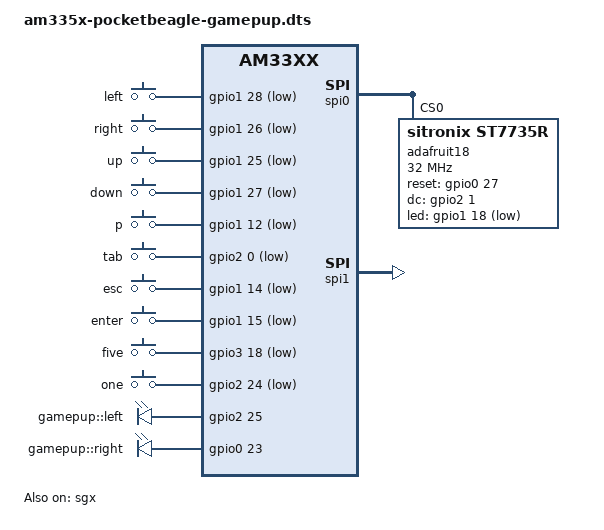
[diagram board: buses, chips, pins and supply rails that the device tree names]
/*
 * Copyright (C) 2012 Texas Instruments Incorporated - http://www.ti.com/
 *
 * This program is free software; you can redistribute it and/or modify
 * it under the terms of the GNU General Public License version 2 as
 * published by the Free Software Foundation.
 */
/dts-v1/;

#include "am33xx.dtsi"
#include "am335x-pocketbeagle-common.dtsi"

&sgx {
	status = "okay";
};

&spi0 {
	#address-cells = <1>;
	#size-cells = <0>;
	status = "okay";

	adafruit18: adafruit18@0{
		compatible = "sitronix,st7735r";
		pinctrl-names = "default";
		pinctrl-0 = <
			&P1_06_spi_cs_pin 	/* CS */
			&P1_08_spi_sclk_pin 	/* SCLK */
			&P1_10_spi_pin 		/* D0 (MOSI?) */
			&P1_12_spi_pin 		/* D1 (MISO?) */
			&P2_19_gpio_pin		/* RST */
			&P2_17_gpio_pin		/* DC */
			&P2_01_gpio_pin		/* LED */
		>;
		reg = <0>;
		buswidth = <8>;
		reset-gpios = <&gpio0 27 0>;
		dc-gpios = <&gpio2 1 0>;
		led-gpios = <&gpio1 18 1>;
		debug = <1>;
		spi-max-frequency = <32000000>;
		rotate = <0>;
		rgb;
		fps = <30>;
	};
};

&spi1 {
	#address-cells = <1>;
	#size-cells = <0>;
	status = "okay";

	channel@0 {
		#address-cells = <1>;
		#size-cells = <0>;
		compatible = "spidev";
		reg = <0>;
		spi-max-frequency = <24000000>;
	};

	channel@1 {
		#address-cells = <1>;
		#size-cells = <0>;
		compatible = "spidev";
		reg = <1>;
		spi-max-frequency = <24000000>;
	};
};

&ocp {
	/************************/
	/* P1 Header */
	/************************/

	/* P1_01                VIN-AC */

	/* P1_02 (ZCZ ball R5) gpio_input */
	P1_02_pinmux {
		compatible = "bone-pinmux-helper";
		status = "okay";
		pinctrl-names = "default", "gpio", "gpio_pu", "gpio_pd", "gpio_input", "pruout", "pruin";
		pinctrl-0 = <&P1_02_default_pin>;
		pinctrl-1 = <&P1_02_gpio_pin>;
		pinctrl-2 = <&P1_02_gpio_pu_pin>;
		pinctrl-3 = <&P1_02_gpio_pd_pin>;
		pinctrl-4 = <&P1_02_gpio_input_pin>;
		pinctrl-5 = <&P1_02_pruout_pin>;
		pinctrl-6 = <&P1_02_pruin_pin>;
	};

	/* P1_03 (ZCZ ball F15)  usb1_vbus_out         */

	/* P1_04 (ZCZ ball R6) */

	/* P1_05 (ZCZ ball T18)  usb1_vbus_in         */

	/* P1_06 (ZCZ ball A16) spi_cs */

	/* P1_07                VIN-USB */

	/* P1_08 (ZCZ ball A17) spi_sclk */

	/* P1_09 (ZCZ ball R18)  USB1-DN         */

	/* P1_10 (ZCZ ball B17) spi */

	/* P1_11 (ZCZ ball R17)  USB1-DP         */

	/* P1_12 (ZCZ ball B16) spi */

	/* P1_13 (ZCZ ball P17)  USB1-ID         */

	/* P1_14                VOUT-3.3V */

	/* P1_15                GND */

	/* P1_16                GND */

	/* P1_17 (ZCZ ball A9)  VREFN         */

	/* P1_18 (ZCZ ball B9)  VREFP         */

	/* P1_19 (ZCZ ball B6)  AIN0         */

	/* P1_20 (ZCZ ball D14) */
	P1_20_pinmux {
		compatible = "bone-pinmux-helper";
		status = "okay";
		pinctrl-names = "default", "gpio", "gpio_pu", "gpio_pd", "gpio_input", "pruin";
		pinctrl-0 = <&P1_20_default_pin>;
		pinctrl-1 = <&P1_20_gpio_pin>;
		pinctrl-2 = <&P1_20_gpio_pu_pin>;
		pinctrl-3 = <&P1_20_gpio_pd_pin>;
		pinctrl-4 = <&P1_20_gpio_input_pin>;
		pinctrl-5 = <&P1_20_pruin_pin>;
	};

	/* P1_21 (ZCZ ball C7)  AIN1         */

	/* P1_22                GND */

	/* P1_23 (ZCZ ball B7)  AIN2         */

	/* P1_24                VOUT-5V */

	/* P1_25 (ZCZ ball A7)  AIN3         */

	/* P1_26 (ZCZ ball D18) i2c */
	P1_26_pinmux {
		compatible = "bone-pinmux-helper";
		status = "okay";
		pinctrl-names = "default", "gpio", "gpio_pu", "gpio_pd", "gpio_input", "spi_cs", "can", "i2c", "pru_uart";
		pinctrl-0 = <&P1_26_default_pin>;
		pinctrl-1 = <&P1_26_gpio_pin>;
		pinctrl-2 = <&P1_26_gpio_pu_pin>;
		pinctrl-3 = <&P1_26_gpio_pd_pin>;
		pinctrl-4 = <&P1_26_gpio_input_pin>;
		pinctrl-5 = <&P1_26_spi_cs_pin>;
		pinctrl-6 = <&P1_26_can_pin>;
		pinctrl-7 = <&P1_26_i2c_pin>;
		pinctrl-8 = <&P1_26_pru_uart_pin>;
	};

	/* P1_27 (ZCZ ball C8)  AIN4         */

	/* P1_28 (ZCZ ball D17) i2c */
	P1_28_pinmux {
		compatible = "bone-pinmux-helper";
		status = "okay";
		pinctrl-names = "default", "gpio", "gpio_pu", "gpio_pd", "gpio_input", "spi_cs", "can", "i2c", "pru_uart";
		pinctrl-0 = <&P1_28_default_pin>;
		pinctrl-1 = <&P1_28_gpio_pin>;
		pinctrl-2 = <&P1_28_gpio_pu_pin>;
		pinctrl-3 = <&P1_28_gpio_pd_pin>;
		pinctrl-4 = <&P1_28_gpio_input_pin>;
		pinctrl-5 = <&P1_28_spi_cs_pin>;
		pinctrl-6 = <&P1_28_can_pin>;
		pinctrl-7 = <&P1_28_i2c_pin>;
		pinctrl-8 = <&P1_28_pru_uart_pin>;
	};

	/* P1_29 (ZCZ ball A14) pruin */
	P1_29_pinmux {
		compatible = "bone-pinmux-helper";
		status = "okay";
		pinctrl-names = "default", "gpio", "gpio_pu", "gpio_pd", "gpio_input", "qep", "pruout", "pruin";
		pinctrl-0 = <&P1_29_default_pin>;
		pinctrl-1 = <&P1_29_gpio_pin>;
		pinctrl-2 = <&P1_29_gpio_pu_pin>;
		pinctrl-3 = <&P1_29_gpio_pd_pin>;
		pinctrl-4 = <&P1_29_gpio_input_pin>;
		pinctrl-5 = <&P1_29_qep_pin>;
		pinctrl-6 = <&P1_29_pruout_pin>;
		pinctrl-7 = <&P1_29_pruin_pin>;
	};

	/* P1_30 (ZCZ ball E16) uart */
	P1_30_pinmux {
		compatible = "bone-pinmux-helper";
		status = "okay";
		pinctrl-names = "default", "gpio", "gpio_pu", "gpio_pd", "gpio_input", "spi_cs", "uart", "can", "i2c", "pruout", "pruin";
		pinctrl-0 = <&P1_30_default_pin>;
		pinctrl-1 = <&P1_30_gpio_pin>;
		pinctrl-2 = <&P1_30_gpio_pu_pin>;
		pinctrl-3 = <&P1_30_gpio_pd_pin>;
		pinctrl-4 = <&P1_30_gpio_input_pin>;
		pinctrl-5 = <&P1_30_spi_cs_pin>;
		pinctrl-6 = <&P1_30_uart_pin>;
		pinctrl-7 = <&P1_30_can_pin>;
		pinctrl-8 = <&P1_30_i2c_pin>;
		pinctrl-9 = <&P1_30_pruout_pin>;
		pinctrl-10 = <&P1_30_pruin_pin>;
	};

	/* P1_31 (ZCZ ball B12) pruin */

	/* P1_32 (ZCZ ball E15) uart */
	P1_32_pinmux {
		compatible = "bone-pinmux-helper";
		status = "okay";
		pinctrl-names = "default", "gpio", "gpio_pu", "gpio_pd", "gpio_input", "spi_cs", "uart", "can", "i2c", "pruout", "pruin";
		pinctrl-0 = <&P1_32_default_pin>;
		pinctrl-1 = <&P1_32_gpio_pin>;
		pinctrl-2 = <&P1_32_gpio_pu_pin>;
		pinctrl-3 = <&P1_32_gpio_pd_pin>;
		pinctrl-4 = <&P1_32_gpio_input_pin>;
		pinctrl-5 = <&P1_32_spi_cs_pin>;
		pinctrl-6 = <&P1_32_uart_pin>;
		pinctrl-7 = <&P1_32_can_pin>;
		pinctrl-8 = <&P1_32_i2c_pin>;
		pinctrl-9 = <&P1_32_pruout_pin>;
		pinctrl-10 = <&P1_32_pruin_pin>;
	};

	/* P1_33 (ZCZ ball B13) pruin */
	P1_33_pinmux {
		compatible = "bone-pinmux-helper";
		status = "okay";
		pinctrl-names = "default", "gpio", "gpio_pu", "gpio_pd", "gpio_input", "spi", "pwm", "pruout", "pruin";
		pinctrl-0 = <&P1_33_default_pin>;
		pinctrl-1 = <&P1_33_gpio_pin>;
		pinctrl-2 = <&P1_33_gpio_pu_pin>;
		pinctrl-3 = <&P1_33_gpio_pd_pin>;
		pinctrl-4 = <&P1_33_gpio_input_pin>;
		pinctrl-5 = <&P1_33_spi_pin>;
		pinctrl-6 = <&P1_33_pwm_pin>;
		pinctrl-7 = <&P1_33_pruout_pin>;
		pinctrl-8 = <&P1_33_pruin_pin>;
	};

	/* P1_34 (ZCZ ball T11) */
	P1_34_pinmux {
		compatible = "bone-pinmux-helper";
		status = "okay";
		pinctrl-names = "default", "gpio", "gpio_pu", "gpio_pd", "gpio_input", "pwm";
		pinctrl-0 = <&P1_34_default_pin>;
		pinctrl-1 = <&P1_34_gpio_pin>;
		pinctrl-2 = <&P1_34_gpio_pu_pin>;
		pinctrl-3 = <&P1_34_gpio_pd_pin>;
		pinctrl-4 = <&P1_34_gpio_input_pin>;
		pinctrl-5 = <&P1_34_pwm_pin>;
	};

	/* P1_35 (ZCZ ball V5) pruin */

	/* P1_36 (ZCZ ball A13) pwm */
	P1_36_pinmux {
		compatible = "bone-pinmux-helper";
		status = "okay";
		pinctrl-names = "default", "gpio", "gpio_pu", "gpio_pd", "gpio_input", "spi_sclk", "pwm", "pruout", "pruin";
		pinctrl-0 = <&P1_36_default_pin>;
		pinctrl-1 = <&P1_36_gpio_pin>;
		pinctrl-2 = <&P1_36_gpio_pu_pin>;
		pinctrl-3 = <&P1_36_gpio_pd_pin>;
		pinctrl-4 = <&P1_36_gpio_input_pin>;
		pinctrl-5 = <&P1_36_spi_sclk_pin>;
		pinctrl-6 = <&P1_36_pwm_pin>;
		pinctrl-7 = <&P1_36_pruout_pin>;
		pinctrl-8 = <&P1_36_pruin_pin>;
	};


	/************************/
	/* P2 Header */
	/************************/

	/* P2_01 (ZCZ ball U14) pwm */

	/* P2_02 (ZCZ ball V17) */

	/* P2_03 (ZCZ ball T10) */

	/* P2_04 (ZCZ ball T16) */

	/* P2_05 (ZCZ ball T17) uart */
	P2_05_pinmux {
		compatible = "bone-pinmux-helper";
		status = "okay";
		pinctrl-names = "default", "gpio", "gpio_pu", "gpio_pd", "gpio_input", "uart";
		pinctrl-0 = <&P2_05_default_pin>;
		pinctrl-1 = <&P2_05_gpio_pin>;
		pinctrl-2 = <&P2_05_gpio_pu_pin>;
		pinctrl-3 = <&P2_05_gpio_pd_pin>;
		pinctrl-4 = <&P2_05_gpio_input_pin>;
		pinctrl-5 = <&P2_05_uart_pin>;
	};

	/* P2_06 (ZCZ ball U16) */

	/* P2_07 (ZCZ ball U17) uart */
	P2_07_pinmux {
		compatible = "bone-pinmux-helper";
		status = "okay";
		pinctrl-names = "default", "gpio", "gpio_pu", "gpio_pd", "gpio_input", "uart";
		pinctrl-0 = <&P2_07_default_pin>;
		pinctrl-1 = <&P2_07_gpio_pin>;
		pinctrl-2 = <&P2_07_gpio_pu_pin>;
		pinctrl-3 = <&P2_07_gpio_pd_pin>;
		pinctrl-4 = <&P2_07_gpio_input_pin>;
		pinctrl-5 = <&P2_07_uart_pin>;
	};

	/* P2_08 (ZCZ ball U18) */

	/* P2_09 (ZCZ ball D15) i2c */
	P2_09_pinmux {
		compatible = "bone-pinmux-helper";
		status = "okay";
		pinctrl-names = "default", "gpio", "gpio_pu", "gpio_pd", "gpio_input", "uart", "can", "i2c", "pru_uart", "pruin";
		pinctrl-0 = <&P2_09_default_pin>;
		pinctrl-1 = <&P2_09_gpio_pin>;
		pinctrl-2 = <&P2_09_gpio_pu_pin>;
		pinctrl-3 = <&P2_09_gpio_pd_pin>;
		pinctrl-4 = <&P2_09_gpio_input_pin>;
		pinctrl-5 = <&P2_09_uart_pin>;
		pinctrl-6 = <&P2_09_can_pin>;
		pinctrl-7 = <&P2_09_i2c_pin>;
		pinctrl-8 = <&P2_09_pru_uart_pin>;
		pinctrl-9 = <&P2_09_pruin_pin>;
	};

	/* P2_10 (ZCZ ball R14) */
	P2_10_pinmux {
		compatible = "bone-pinmux-helper";
		status = "okay";
		pinctrl-names = "default", "gpio", "gpio_pu", "gpio_pd", "gpio_input", "qep";
		pinctrl-0 = <&P2_10_default_pin>;
		pinctrl-1 = <&P2_10_gpio_pin>;
		pinctrl-2 = <&P2_10_gpio_pu_pin>;
		pinctrl-3 = <&P2_10_gpio_pd_pin>;
		pinctrl-4 = <&P2_10_gpio_input_pin>;
		pinctrl-5 = <&P2_10_qep_pin>;
	};

	/* P2_11 (ZCZ ball D16) i2c */
	P2_11_pinmux {
		compatible = "bone-pinmux-helper";
		status = "okay";
		pinctrl-names = "default", "gpio", "gpio_pu", "gpio_pd", "gpio_input", "uart", "can", "i2c", "pru_uart", "pruin";
		pinctrl-0 = <&P2_11_default_pin>;
		pinctrl-1 = <&P2_11_gpio_pin>;
		pinctrl-2 = <&P2_11_gpio_pu_pin>;
		pinctrl-3 = <&P2_11_gpio_pd_pin>;
		pinctrl-4 = <&P2_11_gpio_input_pin>;
		pinctrl-5 = <&P2_11_uart_pin>;
		pinctrl-6 = <&P2_11_can_pin>;
		pinctrl-7 = <&P2_11_i2c_pin>;
		pinctrl-8 = <&P2_11_pru_uart_pin>;
		pinctrl-9 = <&P2_11_pruin_pin>;
	};

	/* P2_12                POWER_BUTTON */

	/* P2_13                VOUT-5V */

	/* P2_14                BAT-VIN */

	/* P2_15                GND */

	/* P2_16                BAT-TEMP */

	/* P2_17 (ZCZ ball V12) */

	/* P2_18 (ZCZ ball U13) */

	/* P2_19 (ZCZ ball U12) */

	/* P2_20 (ZCZ ball T13) */

	/* P2_21                GND */

	/* P2_22 (ZCZ ball V13) */

	/* P2_23                VOUT-3.3V */

	/* P2_24 (ZCZ ball T12) */

	/* P2_25 (ZCZ ball E17) spi */
	P2_25_pinmux {
		compatible = "bone-pinmux-helper";
		status = "okay";
		pinctrl-names = "default", "gpio", "gpio_pu", "gpio_pd", "gpio_input", "spi", "spi_cs", "uart", "can", "i2c";
		pinctrl-0 = <&P2_25_default_pin>;
		pinctrl-1 = <&P2_25_gpio_pin>;
		pinctrl-2 = <&P2_25_gpio_pu_pin>;
		pinctrl-3 = <&P2_25_gpio_pd_pin>;
		pinctrl-4 = <&P2_25_gpio_input_pin>;
		pinctrl-5 = <&P2_25_spi_pin>;
		pinctrl-6 = <&P2_25_spi_cs_pin>;
		pinctrl-7 = <&P2_25_uart_pin>;
		pinctrl-8 = <&P2_25_can_pin>;
		pinctrl-9 = <&P2_25_i2c_pin>;
	};

	/* P2_26                RESET# */

	/* P2_27 (ZCZ ball E18) spi */
	P2_27_pinmux {
		compatible = "bone-pinmux-helper";
		status = "okay";
		pinctrl-names = "default", "gpio", "gpio_pu", "gpio_pd", "gpio_input", "spi", "uart", "can", "i2c";
		pinctrl-0 = <&P2_27_default_pin>;
		pinctrl-1 = <&P2_27_gpio_pin>;
		pinctrl-2 = <&P2_27_gpio_pu_pin>;
		pinctrl-3 = <&P2_27_gpio_pd_pin>;
		pinctrl-4 = <&P2_27_gpio_input_pin>;
		pinctrl-5 = <&P2_27_spi_pin>;
		pinctrl-6 = <&P2_27_uart_pin>;
		pinctrl-7 = <&P2_27_can_pin>;
		pinctrl-8 = <&P2_27_i2c_pin>;
	};

	/* P2_28 (ZCZ ball D13) pruin */
	P2_28_pinmux {
		compatible = "bone-pinmux-helper";
		status = "okay";
		pinctrl-names = "default", "gpio", "gpio_pu", "gpio_pd", "gpio_input", "qep", "pruout", "pruin";
		pinctrl-0 = <&P2_28_default_pin>;
		pinctrl-1 = <&P2_28_gpio_pin>;
		pinctrl-2 = <&P2_28_gpio_pu_pin>;
		pinctrl-3 = <&P2_28_gpio_pd_pin>;
		pinctrl-4 = <&P2_28_gpio_input_pin>;
		pinctrl-5 = <&P2_28_qep_pin>;
		pinctrl-6 = <&P2_28_pruout_pin>;
		pinctrl-7 = <&P2_28_pruin_pin>;
	};

	/* P2_29 (ZCZ ball C18) spi_sclk */
	P2_29_pinmux {
		compatible = "bone-pinmux-helper";
		status = "okay";
		pinctrl-names = "default", "gpio", "gpio_pu", "gpio_pd", "gpio_input", "spi_cs", "spi_sclk", "uart", "pwm", "pru_ecap";
		pinctrl-0 = <&P2_29_default_pin>;
		pinctrl-1 = <&P2_29_gpio_pin>;
		pinctrl-2 = <&P2_29_gpio_pu_pin>;
		pinctrl-3 = <&P2_29_gpio_pd_pin>;
		pinctrl-4 = <&P2_29_gpio_input_pin>;
		pinctrl-5 = <&P2_29_spi_cs_pin>;
		pinctrl-6 = <&P2_29_spi_sclk_pin>;
		pinctrl-7 = <&P2_29_uart_pin>;
		pinctrl-8 = <&P2_29_pwm_pin>;
		pinctrl-9 = <&P2_29_pru_ecap_pin>;
	};

	/* P2_30 (ZCZ ball C12) pruin */
	P2_30_pinmux {
		compatible = "bone-pinmux-helper";
		status = "okay";
		pinctrl-names = "default", "gpio", "gpio_pu", "gpio_pd", "gpio_input", "spi_cs", "pwm", "pruout", "pruin";
		pinctrl-0 = <&P2_30_default_pin>;
		pinctrl-1 = <&P2_30_gpio_pin>;
		pinctrl-2 = <&P2_30_gpio_pu_pin>;
		pinctrl-3 = <&P2_30_gpio_pd_pin>;
		pinctrl-4 = <&P2_30_gpio_input_pin>;
		pinctrl-5 = <&P2_30_spi_cs_pin>;
		pinctrl-6 = <&P2_30_pwm_pin>;
		pinctrl-7 = <&P2_30_pruout_pin>;
		pinctrl-8 = <&P2_30_pruin_pin>;
	};

	/* P2_31 (ZCZ ball A15) spi_cs */
	P2_31_pinmux {
		compatible = "bone-pinmux-helper";
		status = "okay";
		pinctrl-names = "default", "gpio", "gpio_pu", "gpio_pd", "gpio_input", "spi_cs", "pruin";
		pinctrl-0 = <&P2_31_default_pin>;
		pinctrl-1 = <&P2_31_gpio_pin>;
		pinctrl-2 = <&P2_31_gpio_pu_pin>;
		pinctrl-3 = <&P2_31_gpio_pd_pin>;
		pinctrl-4 = <&P2_31_gpio_input_pin>;
		pinctrl-5 = <&P2_31_spi_cs_pin>;
		pinctrl-6 = <&P2_31_pruin_pin>;
	};

	/* P2_32 (ZCZ ball D12) pruin */
	P2_32_pinmux {
		compatible = "bone-pinmux-helper";
		status = "okay";
		pinctrl-names = "default", "gpio", "gpio_pu", "gpio_pd", "gpio_input", "spi", "pwm", "pruout", "pruin";
		pinctrl-0 = <&P2_32_default_pin>;
		pinctrl-1 = <&P2_32_gpio_pin>;
		pinctrl-2 = <&P2_32_gpio_pu_pin>;
		pinctrl-3 = <&P2_32_gpio_pd_pin>;
		pinctrl-4 = <&P2_32_gpio_input_pin>;
		pinctrl-5 = <&P2_32_spi_pin>;
		pinctrl-6 = <&P2_32_pwm_pin>;
		pinctrl-7 = <&P2_32_pruout_pin>;
		pinctrl-8 = <&P2_32_pruin_pin>;
	};

	/* P2_33 (ZCZ ball R12) */
	P2_33_pinmux {
		compatible = "bone-pinmux-helper";
		status = "okay";
		pinctrl-names = "default", "gpio", "gpio_pu", "gpio_pd", "gpio_input", "qep", "pruout";
		pinctrl-0 = <&P2_33_default_pin>;
		pinctrl-1 = <&P2_33_gpio_pin>;
		pinctrl-2 = <&P2_33_gpio_pu_pin>;
		pinctrl-3 = <&P2_33_gpio_pd_pin>;
		pinctrl-4 = <&P2_33_gpio_input_pin>;
		pinctrl-5 = <&P2_33_qep_pin>;
		pinctrl-6 = <&P2_33_pruout_pin>;
	};

	/* P2_34 (ZCZ ball C13) pruin */
	P2_34_pinmux {
		compatible = "bone-pinmux-helper";
		status = "okay";
		pinctrl-names = "default", "gpio", "gpio_pu", "gpio_pd", "gpio_input", "qep", "pruout", "pruin";
		pinctrl-0 = <&P2_34_default_pin>;
		pinctrl-1 = <&P2_34_gpio_pin>;
		pinctrl-2 = <&P2_34_gpio_pu_pin>;
		pinctrl-3 = <&P2_34_gpio_pd_pin>;
		pinctrl-4 = <&P2_34_gpio_input_pin>;
		pinctrl-5 = <&P2_34_qep_pin>;
		pinctrl-6 = <&P2_34_pruout_pin>;
		pinctrl-7 = <&P2_34_pruin_pin>;
	};

	/* P2_35 (ZCZ ball U5) gpio_input */
	P2_35_pinmux {
		compatible = "bone-pinmux-helper";
		status = "okay";
		pinctrl-names = "default", "gpio", "gpio_pu", "gpio_pd", "gpio_input", "pruout", "pruin";
		pinctrl-0 = <&P2_35_default_pin>;
		pinctrl-1 = <&P2_35_gpio_pin>;
		pinctrl-2 = <&P2_35_gpio_pu_pin>;
		pinctrl-3 = <&P2_35_gpio_pd_pin>;
		pinctrl-4 = <&P2_35_gpio_input_pin>;
		pinctrl-5 = <&P2_35_pruout_pin>;
		pinctrl-6 = <&P2_35_pruin_pin>;
	};

	/* P2_36 (ZCZ ball C9)  AIN7         */

	cape-universal {
		compatible = "gpio-of-helper";
		status = "okay";
		pinctrl-names = "default";
		pinctrl-0 = <>;

		P1_02 {
			gpio-name = "P1_02";
			gpio = <&gpio2 23 0>;
			input;
			dir-changeable;
		};

		P1_20 {
			gpio-name = "P1_20";
			gpio = <&gpio0 20 0>;
			input;
			dir-changeable;
		};

		P1_26 {
			gpio-name = "P1_26";
			gpio = <&gpio0 12 0>;
			input;
			dir-changeable;
		};

		P1_28 {
			gpio-name = "P1_28";
			gpio = <&gpio0 13 0>;
			input;
			dir-changeable;
		};

		P1_29 {
			gpio-name = "P1_29";
			gpio = <&gpio3 21 0>;
			input;
			dir-changeable;
		};

		P1_30 {
			gpio-name = "P1_30";
			gpio = <&gpio1 11 0>;
			input;
			dir-changeable;
		};

		P1_32 {
			gpio-name = "P1_32";
			gpio = <&gpio1 10 0>;
			input;
			dir-changeable;
		};

		P1_33 {
			gpio-name = "P1_33";
			gpio = <&gpio3 15 0>;
			input;
			dir-changeable;
		};

		P1_34 {
			gpio-name = "P1_34";
			gpio = <&gpio0 26 0>;
			input;
			dir-changeable;
		};

		P1_36 {
			gpio-name = "P1_36";
			gpio = <&gpio3 14 0>;
			input;
			dir-changeable;
		};

		P2_05 {
			gpio-name = "P2_05";
			gpio = <&gpio0 30 0>;
			input;
			dir-changeable;
		};

		P2_07 {
			gpio-name = "P2_07";
			gpio = <&gpio0 31 0>;
			input;
			dir-changeable;
		};

		P2_09 {
			gpio-name = "P2_09";
			gpio = <&gpio0 15 0>;
			input;
			dir-changeable;
		};

		P2_10 {
			gpio-name = "P2_10";
			gpio = <&gpio1 20 0>;
			input;
			dir-changeable;
		};

		P2_11 {
			gpio-name = "P2_11";
			gpio = <&gpio0 14 0>;
			input;
			dir-changeable;
		};

		P2_17 {
			gpio-name = "P2_17";
			gpio = <&gpio2 1 0>;
			input;
			dir-changeable;
		};

		P2_19 {
			gpio-name = "P2_19";
			gpio = <&gpio0 27 0>;
			input;
			dir-changeable;
		};

		P2_25 {
			gpio-name = "P2_25";
			gpio = <&gpio1 9 0>;
			input;
			dir-changeable;
		};

		P2_27 {
			gpio-name = "P2_27";
			gpio = <&gpio1 8 0>;
			input;
			dir-changeable;
		};

		P2_28 {
			gpio-name = "P2_28";
			gpio = <&gpio3 20 0>;
			input;
			dir-changeable;
		};

		P2_29 {
			gpio-name = "P2_29";
			gpio = <&gpio0 7 0>;
			input;
			dir-changeable;
		};

		P2_30 {
			gpio-name = "P2_30";
			gpio = <&gpio3 17 0>;
			input;
			dir-changeable;
		};

		P2_31 {
			gpio-name = "P2_31";
			gpio = <&gpio0 19 0>;
			input;
			dir-changeable;
		};

		P2_32 {
			gpio-name = "P2_32";
			gpio = <&gpio3 16 0>;
			input;
			dir-changeable;
		};

		P2_33 {
			gpio-name = "P2_33";
			gpio = <&gpio1 13 0>;
			input;
			dir-changeable;
		};

		P2_34 {
			gpio-name = "P2_34";
			gpio = <&gpio3 19 0>;
			input;
			dir-changeable;
		};

		P2_35 {
			gpio-name = "P2_35";
			gpio = <&gpio2 22 0>;
			input;
			dir-changeable;
		};

	};
};


/ {
	/*
	 * Load the drivers for the buttons and LEDs.
	 */
	gpio-keys {
		compatible = "gpio-keys";
		autorepeat;

		pinctrl-names = "default";
		pinctrl-0 = <
			&P2_02_gpio_pu_pin	/* left-pad down */
			&P2_04_gpio_pu_pin	/* left-pad right */
			&P2_06_gpio_pu_pin	/* left-pad up */
			&P2_08_gpio_pu_pin	/* left-pad left */
			&P2_18_gpio_pu_pin	/* right-pad down */
			&P2_20_gpio_pu_pin	/* right-pad right */
			&P2_22_gpio_pu_pin	/* right-pad up */
			&P2_24_gpio_pu_pin	/* right-pad left */
			&P1_31_gpio_pu_pin	/* select */
			&P1_35_gpio_pu_pin	/* start */
		>;

		lp-left {
			label = "left";
			linux,code = <105>;
			gpios = <&gpio1 28 GPIO_ACTIVE_LOW>;
		};

		lp-right {
			label = "right";
			linux,code = <106>;
			gpios = <&gpio1 26 GPIO_ACTIVE_LOW>;
		};

		lp-up {
			label = "up";
			linux,code = <103>;
			gpios = <&gpio1 25 GPIO_ACTIVE_LOW>;
		};

		lp-down {
			label = "down";
			linux,code = <108>;
			gpios = <&gpio1 27 GPIO_ACTIVE_LOW>;
		};

		rp-left {
			label = "p";
			linux,code = <25>;
			gpios = <&gpio1 12 GPIO_ACTIVE_LOW>;
		};

		rp-right {
			label = "tab";
			linux,code = <15>;
			gpios = <&gpio2 0 GPIO_ACTIVE_LOW>;
		};

		rp-up {
			label = "esc";
			linux,code = <1>;
			gpios = <&gpio1 14 GPIO_ACTIVE_LOW>;
		};

		rp-down {
			label = "enter";
			linux,code = <28>;
			gpios = <&gpio1 15 GPIO_ACTIVE_LOW>;
		};

		select {
			label = "five";
			linux,code = <6>;
			gpios = <&gpio3 18 GPIO_ACTIVE_LOW>;
		};

		start {
			label = "one";
			linux,code = <2>;
			gpios = <&gpio2 24 GPIO_ACTIVE_LOW>;
		};
	};

	capeleds {
		compatible = "gpio-leds";

		pinctrl-names = "default";
		pinctrl-0 = <
			&P1_04_gpio_pin	/* left */
			&P2_03_gpio_pin	/* right */
		>;

		led@1 {
			label = "gamepup::left";
			gpios = <&gpio2 25 GPIO_ACTIVE_HIGH>;
			default-state = "off";
		};

		led@2 {
			label = "gamepup::right";
			gpios = <&gpio0 23 GPIO_ACTIVE_HIGH>;
			default-state = "off";
		};
	};
};
